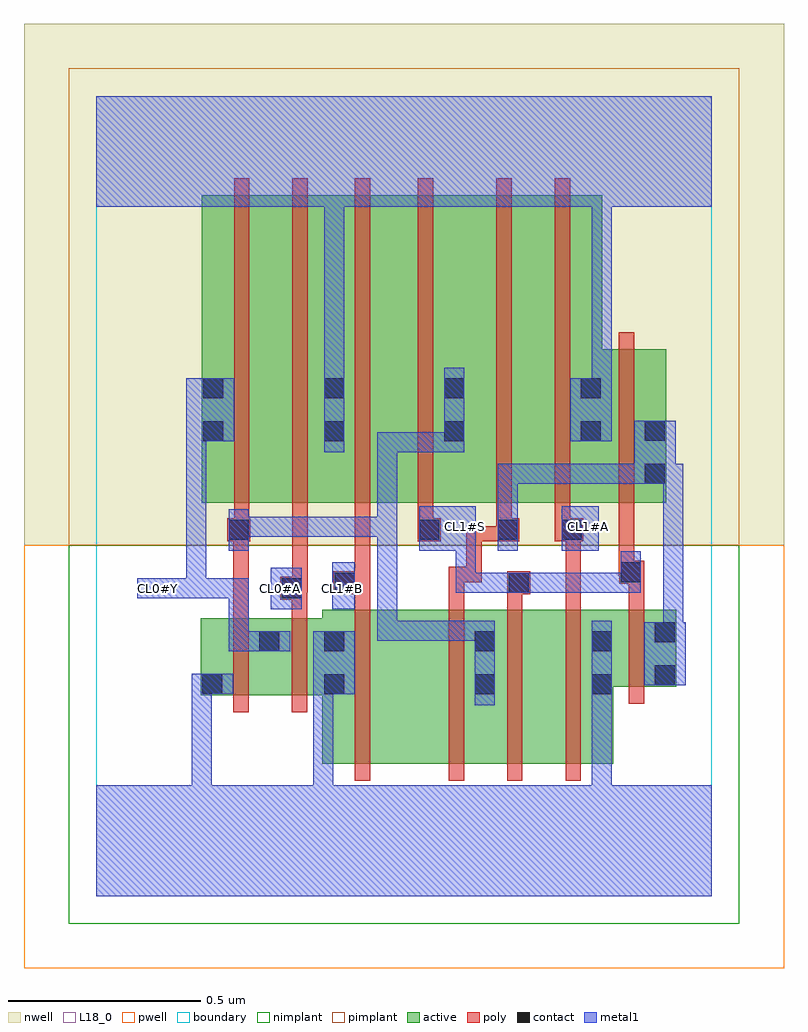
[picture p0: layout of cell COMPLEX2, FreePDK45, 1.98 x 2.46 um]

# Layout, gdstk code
import gdstk
lib = gdstk.Library(unit=1e-6, precision=1e-09)
def R(c, l, rs):  # rectangles x0, y0, x1, y1
    for r in rs: c.add(gdstk.rectangle(r[:2], r[2:], *l))
def A(c, l, x, y, w, h, nx, ny, dx, dy):  # array of equal rectangles
    R(c, l, [(x+i*dx, y+j*dy, x+i*dx+w, y+j*dy+h) for i in range(nx) for j in range(ny)])
active = (1, 0)
pwell = (2, 0)
nwell = (3, 0)
nimplant = (4, 0)
pimplant = (5, 0)
poly = (9, 0)
contact = (10, 0)
metal1 = (11, 0)
L18_0 = (18, 0)
boundary = (235, 0)

complex2 = lib.new_cell('COMPLEX2')
R(complex2, active, [(0.588,0.344,0.768,0.744), (0.768,0.344,1.04,0.744), (0.98,0.344,1.164,0.744), (1.164,0.344,1.344,0.744), (1.284,0.344,1.344,0.692), (0.98,0.468,1.04,0.692), (0.588,0.52,0.648,0.722), (0.272,0.522,0.332,0.722), (0.272,0.522,0.48,0.722), (0.42,0.522,0.648,0.722), (0.42,0.522,0.48,0.692), (1.284,0.544,1.508,0.744), (1.448,0.544,1.508,0.744), (0.274,1.022,0.454,1.822), (0.274,1.022,0.358,1.724), (0.454,1.022,0.648,1.822), (0.588,1.022,0.78,1.822), (0.588,1.022,0.648,1.756), (0.78,1.022,0.96,1.822), (0.9,1.022,1.136,1.822), (0.9,1.022,0.96,1.724), (1.136,1.022,1.316,1.822), (1.256,1.022,1.482,1.422), (1.256,1.022,1.316,1.458), (1.422,1.022,1.482,1.356)])
R(complex2, pwell, [(-0.188,-0.188,1.788,0.912)])
R(complex2, nwell, [(-0.188,0.912,1.788,2.268)])
R(complex2, nimplant, [(-0.072,-0.072,1.672,0.912)])
R(complex2, pimplant, [(-0.072,0.912,1.672,2.152)])
A(complex2, poly, 0.916, 0.3, 0.04, 0.488, 3, 1, 0.152, 0)
R(complex2, poly, [(0.672,0.3,0.712,0.788), (0.356,0.478,0.396,0.766), (0.508,0.478,0.548,0.766), (1.384,0.5,1.424,0.788), (0.356,0.726,0.396,0.962), (0.508,0.726,0.548,0.81), (0.672,0.748,0.712,0.824), (0.916,0.748,0.956,0.856), (1.068,0.748,1.108,0.824), (1.22,0.748,1.26,0.962), (1.384,0.748,1.424,0.852), (0.478,0.77,0.548,0.83), (0.616,0.784,0.712,0.844), (1.068,0.784,1.128,0.844), (0.508,0.79,0.548,0.83), (0.508,0.79,0.55,0.83), (0.51,0.79,0.55,1.018), (0.672,0.804,0.712,0.844), (0.672,0.804,0.712,0.844), (0.672,0.804,0.712,1.018), (1.36,0.812,1.424,0.872), (0.916,0.816,0.956,0.856), (0.916,0.816,1.002,0.856), (0.962,0.816,1.002,0.856), (0.962,0.816,1.002,0.962), (1.358,0.832,1.398,1.018), (1.358,0.832,1.4,0.872), (1.36,0.832,1.4,0.872), (0.34,0.922,0.4,0.982), (0.356,0.922,0.396,0.962), (0.356,0.922,0.396,0.962), (0.836,0.922,0.896,0.982), (0.962,0.922,1.002,0.962), (0.962,0.922,1.08,0.962), (1.04,0.922,1.1,0.982), (1.192,0.922,1.266,0.982), (1.22,0.922,1.26,0.962), (1.22,0.922,1.26,0.962), (0.358,0.942,0.398,1.018), (0.836,0.942,0.876,1.018), (1.04,0.942,1.08,1.018), (1.192,0.942,1.232,1.018), (0.358,0.978,0.398,1.866), (0.51,0.978,0.55,1.866), (0.672,0.978,0.712,1.866), (0.836,0.978,0.876,1.866), (1.04,0.978,1.08,1.866), (1.192,0.978,1.232,1.866), (1.358,0.978,1.398,1.466)])
R(complex2, contact, [(0.592,0.524,0.644,0.576), (0.984,0.524,1.036,0.576), (1.288,0.524,1.34,0.576), (0.276,0.526,0.328,0.578), (1.452,0.548,1.504,0.6), (0.424,0.636,0.476,0.688), (0.592,0.636,0.644,0.688), (0.984,0.636,1.036,0.688), (1.288,0.636,1.34,0.688), (1.452,0.66,1.504,0.712), (0.482,0.774,0.534,0.826), (0.62,0.788,0.672,0.84), (1.072,0.788,1.124,0.84), (1.364,0.816,1.416,0.868), (0.344,0.926,0.396,0.978), (0.84,0.926,0.892,0.978), (1.044,0.926,1.096,0.978), (1.21,0.926,1.262,0.978), (1.426,1.072,1.478,1.124), (0.278,1.182,0.33,1.234), (0.592,1.182,0.644,1.234), (0.904,1.182,0.956,1.234), (1.26,1.182,1.312,1.234), (1.426,1.184,1.478,1.236), (0.278,1.294,0.33,1.346), (0.592,1.294,0.644,1.346), (0.904,1.294,0.956,1.346), (1.26,1.294,1.312,1.346)])
R(complex2, metal1, [(0,0,1.6,0.288), (0.248,0.236,0.3,0.288), (0.248,0.236,0.3,0.288), (0.248,0.236,0.3,0.288), (0.248,0.236,0.3,0.288), (0.248,0.236,0.3,0.288), (0.248,0.236,0.3,0.288), (0.248,0.236,0.3,0.578), (0.564,0.236,0.616,0.288), (0.564,0.236,0.616,0.288), (0.564,0.236,0.616,0.576), (1.288,0.236,1.34,0.548), (0.984,0.496,1.036,0.716), (1.288,0.496,1.34,0.548), (1.288,0.496,1.34,0.548), (1.288,0.496,1.34,0.716), (0.564,0.524,0.672,0.688), (0.248,0.526,0.356,0.578), (1.424,0.548,1.532,0.712), (0.344,0.636,0.396,0.826), (0.344,0.636,0.504,0.688), (1.474,0.66,1.526,0.712), (1.474,0.66,1.526,0.712), (1.474,0.66,1.526,1.124), (0.73,0.664,0.782,0.716), (0.73,0.664,0.892,0.716), (0.73,0.664,0.782,0.986), (0.84,0.664,0.892,0.716), (0.84,0.664,1.036,0.716), (0.454,0.746,0.534,0.854), (0.614,0.746,0.672,0.868), (0.106,0.774,0.286,0.826), (0.234,0.774,0.286,0.826), (0.234,0.774,0.286,0.826), (0.234,0.774,0.286,0.826), (0.234,0.774,0.286,0.826), (0.234,0.774,0.396,0.826), (0.234,0.774,0.286,1.234), (0.344,0.774,0.396,0.826), (0.934,0.788,0.986,0.84), (0.934,0.788,1.096,0.84), (0.934,0.788,0.986,0.95), (1.044,0.788,1.152,0.84), (1.1,0.788,1.152,0.84), (1.1,0.788,1.152,0.84), (1.1,0.788,1.306,0.84), (1.254,0.788,1.306,0.84), (1.254,0.788,1.306,0.84), (1.254,0.788,1.306,0.84), (1.254,0.788,1.416,0.84), (1.364,0.788,1.416,0.896), (0.344,0.898,0.396,1.006), (0.84,0.898,0.986,1.014), (0.934,0.898,0.986,0.95), (0.934,0.898,0.986,0.95), (1.044,0.898,1.096,1.006), (1.21,0.898,1.306,1.014), (0.344,0.934,0.396,0.986), (0.344,0.934,0.396,0.986), (0.344,0.934,0.506,0.986), (0.454,0.934,0.506,0.986), (0.454,0.934,0.506,0.986), (0.454,0.934,0.506,0.986), (0.454,0.934,0.782,0.986), (0.73,0.934,0.782,0.986), (0.73,0.934,0.782,0.986), (0.73,0.934,0.782,0.986), (0.73,0.934,0.782,0.986), (0.73,0.934,0.782,0.986), (0.73,0.934,0.782,1.206), (1.044,0.954,1.096,1.006), (1.044,0.954,1.096,1.006), (1.044,0.954,1.096,1.124), (1.044,1.072,1.096,1.124), (1.044,1.072,1.262,1.124), (1.21,1.072,1.262,1.124), (1.21,1.072,1.262,1.124), (1.21,1.072,1.262,1.124), (1.21,1.072,1.45,1.124), (1.398,1.072,1.45,1.124), (1.398,1.072,1.45,1.124), (1.398,1.072,1.506,1.236), (1.454,1.072,1.506,1.124), (1.454,1.072,1.526,1.124), (0.592,1.154,0.644,1.374), (0.73,1.154,0.782,1.206), (0.73,1.154,0.956,1.206), (0.904,1.154,0.956,1.206), (0.904,1.154,0.956,1.206), (0.904,1.154,0.956,1.374), (0.234,1.182,0.358,1.346), (1.232,1.182,1.34,1.346), (1.288,1.294,1.34,1.844), (0.592,1.322,0.644,1.844), (0,1.792,1.6,2.08)])
A(complex2, L18_0, 0.234, 0.774, 0.052, 0.052, 3, 1, 0.11, 0)
R(complex2, L18_0, [(0,0,1.6,0.288), (0.248,0.236,0.3,0.288), (0.248,0.236,0.3,0.288), (0.248,0.236,0.3,0.288), (0.248,0.236,0.3,0.288), (0.248,0.236,0.3,0.288), (0.248,0.236,0.3,0.288), (0.248,0.236,0.3,0.578), (0.564,0.236,0.616,0.288), (0.564,0.236,0.616,0.288), (0.564,0.236,0.616,0.576), (1.288,0.236,1.34,0.548), (1.288,0.496,1.34,0.548), (1.288,0.496,1.34,0.548), (1.288,0.496,1.34,0.716), (0.564,0.524,0.672,0.688), (0.248,0.526,0.356,0.578), (0.344,0.636,0.504,0.688), (0.344,0.636,0.396,0.826), (0.454,0.746,0.534,0.854), (0.614,0.746,0.672,0.868), (0.106,0.774,0.286,0.826), (0.134,0.774,0.186,0.826), (0.234,0.774,0.286,0.826), (0.234,0.774,0.286,0.826), (0.234,0.774,0.286,0.826), (0.234,0.774,0.286,1.234), (0.234,0.774,0.396,0.826), (0.614,0.774,0.666,0.826), (0.934,0.788,0.986,0.84), (0.934,0.788,1.096,0.84), (0.934,0.788,0.986,0.95), (1.044,0.788,1.152,0.84), (1.1,0.788,1.152,0.84), (1.1,0.788,1.152,0.84), (1.1,0.788,1.306,0.84), (1.254,0.788,1.306,0.84), (1.254,0.788,1.306,0.84), (1.254,0.788,1.306,0.84), (1.254,0.788,1.416,0.84), (1.364,0.788,1.416,0.896), (0.84,0.898,0.986,1.014), (0.934,0.898,0.986,0.95), (0.934,0.898,0.986,0.95), (1.21,0.898,1.306,1.014), (0.934,0.934,0.986,0.986), (1.254,0.934,1.306,0.986), (0.592,1.154,0.644,1.374), (0.234,1.182,0.358,1.346), (1.232,1.182,1.34,1.346), (1.288,1.294,1.34,1.844), (0.592,1.322,0.644,1.844), (0,1.792,1.6,2.08)])
R(complex2, boundary, [(0,0,1.6,2.08)])
complex2.add(gdstk.Label('CL0#A', (0.48,0.8), layer=11, texttype=0))
complex2.add(gdstk.Label('CL0#Y', (0.16,0.8), layer=11, texttype=0))
complex2.add(gdstk.Label('CL1#A', (1.28,0.96), layer=11, texttype=0))
complex2.add(gdstk.Label('CL1#B', (0.64,0.8), layer=11, texttype=0))
complex2.add(gdstk.Label('CL1#S', (0.96,0.96), layer=11, texttype=0))

lib.write_gds('COMPLEX2.gds')
